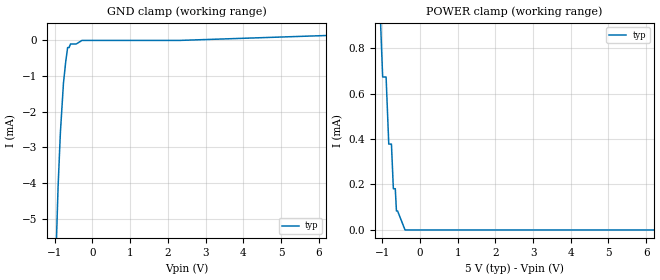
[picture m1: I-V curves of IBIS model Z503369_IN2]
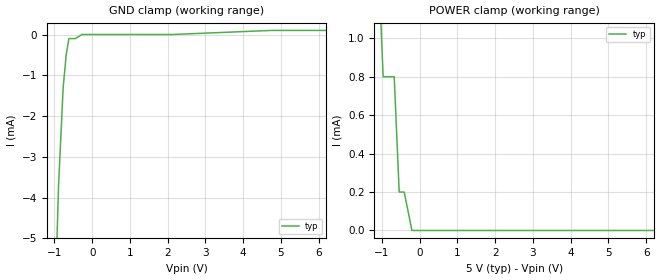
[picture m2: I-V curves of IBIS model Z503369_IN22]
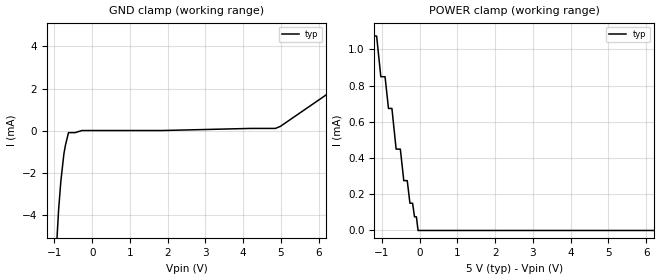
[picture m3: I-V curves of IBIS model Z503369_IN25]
| YOU ARE ONLY AUTHORIZED TO USE THIS SOFTWARE
| ACCORDING TO LICENSOR'S LICENSE RESTRICTIONS.
[IBIS Ver] 3.1
[File Name] mc100e241fn_pecl.ibs
[File Rev] 2.0
[Source] Measured and created by ICX Technology
[Date] Friday 7/14/00 9:07:47 AM
[Copyright]
| (C) COPYRIGHT 1993-2000
| MENTOR GRAPHICS CORPORATION
| ICX STANDARD LIBRARY, ICX PROJECT MODELING,
| ICX CUSTOM MODELING, ICX VENDOR MODEL
| ALL RIGHTS RESERVED.
| THE FOLLOWING ARE TRADEMARKS OR SERVICE MARKS OF
| MENTOR GRAPHICS CORPORATION:ICX (R), ICX STANDARD
| LIBRARY(R), ICX PROJECT MODELING(R), ICX CUSTOM
| MODELING(R), qualityIBIS(TM), MODELVIEWER(TM),
| AND MODELEDITOR(TM)
| ALL COPIES OF SOFTWARE, INCLUDING BUT NOT LIMITED TO
| ANY MODIFICATIONS, ENHANCEMENTS OR DERIVATIVE WORKS,
| MUST CONTAIN ALL MENTOR GRAPHICS CORPORATION'S
| NOTICES AND LEGENDS, INCLUDING THOSE EMBEDDED IN
| SOFTWARE AND THOSE AFFIXED TO SOFTWARE MEDIUM
| AND CONTAINER, AS RECEIVED FROM MENTOR GRAPHICS
| CORPORATION.
|  ZAP Model Builder 2.7
[Component] MC100E241FN_PECL
[Manufacturer] OnSemiconductor
[Package]
| variable   typ   min   max
R_pkg  .083ohms NA NA
L_pkg  4.299nH NA NA
C_pkg  1.045pF NA NA
[Pin] signal_name  model_name  R_pin  L_pin C_pin
1 VEE POWER .08 3.94n .925p
2 S-IN Z503369_IN2 .082 4.14n .995p
3 D0 Z503369_IN4 .084 4.354n 1.065p
4 D1 Z503369_IN4 .086 4.583n 1.135p
5 D2 Z503369_IN4 .086 4.583n 1.135p
6 D3 Z503369_IN4 .084 4.354n 1.065p
7 D4 Z503369_IN4 .082 4.14n .995p
8 VCCO POWER .08 3.94n .925p
9 Q0 Z503369_OUT11 .082 4.14n .995p
10 Q1 Z503369_OUT11 .084 4.354n 1.065p
11 Q2 Z503369_OUT11 .086 4.583n 1.135p
12 Q3 Z503369_OUT11 .086 4.583n 1.135p
13 Q4 Z503369_OUT18 .084 4.354n 1.065p
14 VCCO POWER .082 4.14n .995p
15 NC NC .08 3.94n .925p
16 VCC POWER .082 4.14n .995p
17 Q5 Z503369_OUT18 .084 4.354n 1.065p
18 Q6 Z503369_OUT18 .086 4.583n 1.135p
19 Q7 Z503369_OUT18 .086 4.583n 1.135p
20 VCCO POWER .084 4.354n 1.065p
21 D5 Z503369_IN22 .082 4.14n .995p
22 D6 Z503369_IN22 .08 3.94n .925p
23 D7 Z503369_IN22 .082 4.14n .995p
24 NC NC .084 4.354n 1.065p
25 SEL0 Z503369_IN25 .086 4.583n 1.135p
26 SEL1 Z503369_IN25 .086 4.583n 1.135p
27 CLK Z503369_IN27 .084 4.354n 1.065p
28 MR Z503369_IN28 .082 4.14n .995p
| Models and submodels in the file (8): Z503369_IN2 (Input_ECL), Z503369_IN22 (Input_ECL), Z503369_IN25 (Input_ECL), Z503369_IN27 (Input_ECL), Z503369_IN28 (Input_ECL), Z503369_IN4 (Input_ECL), Z503369_OUT11 (Output_ECL), Z503369_OUT18 (Output_ECL)
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| (C) COPYRIGHT 1993-2000
| MENTOR GRAPHICS CORPORATION
| ICX STANDARD LIBRARY, ICX PROJECT MODELING,
| ICX CUSTOM MODELING, ICX VENDOR MODEL
| ALL RIGHTS RESERVED.
| THE FOLLOWING ARE TRADEMARKS OR SERVICE MARKS OF
| MENTOR GRAPHICS CORPORATION:ICX (R), ICX STANDARD
| LIBRARY(R), ICX PROJECT MODELING(R), ICX CUSTOM
| MODELING(R), qualityIBIS(TM), MODELVIEWER(TM),
| AND MODELEDITOR(TM)
| ALL COPIES OF SOFTWARE, INCLUDING BUT NOT LIMITED TO
| ANY MODIFICATIONS, ENHANCEMENTS OR DERIVATIVE WORKS,
| MUST CONTAIN ALL MENTOR GRAPHICS CORPORATION'S
| NOTICES AND LEGENDS, INCLUDING THOSE EMBEDDED IN
| SOFTWARE AND THOSE AFFIXED TO SOFTWARE MEDIUM
| AND CONTAINER, AS RECEIVED FROM MENTOR GRAPHICS
| CORPORATION.
| Model Application Version 1.89 2/18/99.
[Model] Z503369_IN2
Model_type Input_ECL
Vinl = 3.525V
Vinh = 3.835V
C_comp 4.000pF NA NA
| variable typ   min   max
[Voltage Range] 5.000V NA NA
[GND Clamp Reference] 0.000V NA NA
[POWER Clamp Reference] 5.000V NA NA
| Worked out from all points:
|   GND clamp passes 1 mA (typ) near -0.75 V on its own axis
|   POWER clamp passes 1 mA (typ) near -1.06 V on its own axis
[GND Clamp]
-5V       -194.4mA   NA         NA
-1.094V   -10.4mA    NA         NA
-911mV    -4.1mA     NA         NA
-851mV    -2.6mA     NA         NA
-769mV    -1.2mA     NA         NA
-709mV    -600uA     NA         NA
-658.3mV  -200uA     NA         NA
-620.1mV  -200uA     NA         NA
-582mV    -100uA     NA         NA
-278.3mV  0A         NA         NA
2.301V    0A         NA         NA
10V       272.3uA    NA         NA
[POWER Clamp]
-5V       13.16mA    NA         NA
-1.08V    1.066mA    NA         NA
-989mV    672.8uA    NA         NA
-898mV    672.8uA    NA         NA
-827mV    377.8uA    NA         NA
-756mV    377.8uA    NA         NA
-705mV    181.4uA    NA         NA
-654mV    181.4uA    NA         NA
-623.5mV  83.55uA    NA         NA
-593mV    83.55uA    NA         NA
-395.3mV  0A         NA         NA
10V       0A         NA         NA
| (C) COPYRIGHT 1993-2000
| MENTOR GRAPHICS CORPORATION
| ICX STANDARD LIBRARY, ICX PROJECT MODELING,
| ICX CUSTOM MODELING, ICX VENDOR MODEL
| ALL RIGHTS RESERVED.
| THE FOLLOWING ARE TRADEMARKS OR SERVICE MARKS OF
| MENTOR GRAPHICS CORPORATION:ICX (R), ICX STANDARD
| LIBRARY(R), ICX PROJECT MODELING(R), ICX CUSTOM
| MODELING(R), qualityIBIS(TM), MODELVIEWER(TM),
| AND MODELEDITOR(TM)
| ALL COPIES OF SOFTWARE, INCLUDING BUT NOT LIMITED TO
| ANY MODIFICATIONS, ENHANCEMENTS OR DERIVATIVE WORKS,
| MUST CONTAIN ALL MENTOR GRAPHICS CORPORATION'S
| NOTICES AND LEGENDS, INCLUDING THOSE EMBEDDED IN
| SOFTWARE AND THOSE AFFIXED TO SOFTWARE MEDIUM
| AND CONTAINER, AS RECEIVED FROM MENTOR GRAPHICS
| CORPORATION.
| Model Application Version 1.89 2/18/99.
[Model] Z503369_IN22
Model_type Input_ECL
Vinl = 3.525V
Vinh = 3.835V
C_comp 4.000pF NA NA
| variable typ   min   max
[Voltage Range] 5.000V NA NA
[GND Clamp Reference] 0.000V NA NA
[POWER Clamp Reference] 5.000V NA NA
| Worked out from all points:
|   GND clamp passes 1 mA (typ) near -0.74 V on its own axis
[GND Clamp]
-5V       -191.3mA   NA         NA
-1.033V   -8.2mA     NA         NA
-891mV    -3.7mA     NA         NA
-769mV    -1.3mA     NA         NA
-689mV    -500uA     NA         NA
-617.8mV  -100uA     NA         NA
-445.5mV  -100uA     NA         NA
-273.2mV  0A         NA         NA
2.119V    0A         NA         NA
4.743V    100uA      NA         NA
10V       100uA      NA         NA
[POWER Clamp]
-5V       20.18mA    NA         NA
-1.445V   2.7mA      NA         NA
-1.364V   2.5mA      NA         NA
-1.324V   2.3mA      NA         NA
-1.262V   2.2mA      NA         NA
-968.5mV  800uA      NA         NA
-675mV    800uA      NA         NA
-543mV    200uA      NA         NA
-411mV    200uA      NA         NA
-205.5mV  0A         NA         NA
10V       0A         NA         NA
| (C) COPYRIGHT 1993-2000
| MENTOR GRAPHICS CORPORATION
| ICX STANDARD LIBRARY, ICX PROJECT MODELING,
| ICX CUSTOM MODELING, ICX VENDOR MODEL
| ALL RIGHTS RESERVED.
| THE FOLLOWING ARE TRADEMARKS OR SERVICE MARKS OF
| MENTOR GRAPHICS CORPORATION:ICX (R), ICX STANDARD
| LIBRARY(R), ICX PROJECT MODELING(R), ICX CUSTOM
| MODELING(R), qualityIBIS(TM), MODELVIEWER(TM),
| AND MODELEDITOR(TM)
| ALL COPIES OF SOFTWARE, INCLUDING BUT NOT LIMITED TO
| ANY MODIFICATIONS, ENHANCEMENTS OR DERIVATIVE WORKS,
| MUST CONTAIN ALL MENTOR GRAPHICS CORPORATION'S
| NOTICES AND LEGENDS, INCLUDING THOSE EMBEDDED IN
| SOFTWARE AND THOSE AFFIXED TO SOFTWARE MEDIUM
| AND CONTAINER, AS RECEIVED FROM MENTOR GRAPHICS
| CORPORATION.
| Model Application Version 1.89 2/18/99.
[Model] Z503369_IN25
Model_type Input_ECL
Vinl = 3.525V
Vinh = 3.835V
C_comp 4.000pF NA NA
| variable typ   min   max
[Voltage Range] 5.000V NA NA
[GND Clamp Reference] 0.000V NA NA
[POWER Clamp Reference] 5.000V NA NA
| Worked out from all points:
|   GND clamp passes 1 mA (typ) near -0.74 V on its own axis
|   POWER clamp passes 1 mA (typ) near -1.10 V on its own axis
[GND Clamp]
-5V       -220.4mA   NA         NA
-1.013V   -7.7mA     NA         NA
-891mV    -3.8mA     NA         NA
-830mV    -2.4mA     NA         NA
-749mV    -1.1mA     NA         NA
-709mV    -700uA     NA         NA
-627.7mV  -100uA     NA         NA
-450.5mV  -100uA     NA         NA
-273.2mV  0A         NA         NA
1.845V    0A         NA         NA
4.854V    100uA      NA         NA
10V       6.39mA     NA         NA
[POWER Clamp]
-5V       8.155mA    NA         NA
-1.141V   1.074mA    NA         NA
-1.03V    849.4uA    NA         NA
-918mV    849.4uA    NA         NA
-827mV    674.1uA    NA         NA
-736mV    674.1uA    NA         NA
-624.5mV  449.4uA    NA         NA
-513mV    449.4uA    NA         NA
-421.5mV  275.3uA    NA         NA
-330mV    275.3uA    NA         NA
-43.5mV   0A         NA         NA
10V       0A         NA         NA
